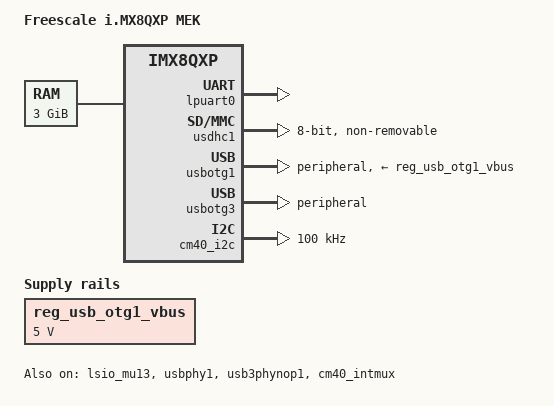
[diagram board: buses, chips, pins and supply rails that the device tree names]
// SPDX-License-Identifier: GPL-2.0+
/*
 * Copyright 2017-2020 NXP
 */

/dts-v1/;

#include "imx8qxp.dtsi"

/ {
	model = "Freescale i.MX8QXP MEK";
	compatible = "fsl,imx8qxp-mek", "fsl,imx8qxp";

	chosen {
		stdout-path = &lpuart0;
	};

	memory@80000000 {
		device_type = "memory";
		reg = <0x00000000 0x80000000 0 0xc0000000>;
	};

	reserved-memory {
		#address-cells = <2>;
		#size-cells = <2>;
		ranges;

		/* 0x8800_0000 ~ 0x8FFF_FFFF is reserved for M4 */

		m4_reserved: m4@0x88000000 {
			no-map;
			reg = <0 0x88000000 0 0x8000000>;
		};

		/* 0x9000_0000 ~ 0x9050_0000 is reserved for M4 rpmsg */

		vdev0vring0: vdev0vring0@90000000 {
                        compatible = "shared-dma-pool";
			reg = <0 0x90000000 0 0x8000>;
			no-map;
		};

		vdev0vring1: vdev0vring1@90008000 {
                        compatible = "shared-dma-pool";
			reg = <0 0x90008000 0 0x8000>;
			no-map;
		};

		vdevbuffer: vdevbuffer {
                        compatible = "shared-dma-pool";
			reg = <0 0x90010000 0 0x40000>;
			no-map;
		};
	};

	imx8x_cm4: imx8x_cm4@0 {
		compatible = "fsl,imx8qxp-cm4";
		mbox-names = "tx", "rx", "txdb", "rxdb";
		mboxes = <&lsio_mu5 0 1
			  &lsio_mu5 1 1
			  &lsio_mu5 2 1
			  &lsio_mu5 3 1>;
		mub-partition = <3>;
		memory-region = <&vdev0vring0>, <&vdev0vring1>, <&vdevbuffer>;
		core-index = <0>;
		core-id = <IMX_SC_R_M4_0_PID0>;
		power-domains = <&pd IMX_SC_R_M4_0_PID0>,
				<&pd IMX_SC_R_M4_0_MU_1A>;
		status = "okay";
	};

	reg_usb_otg1_vbus: regulator-usbotg1-vbus {
		compatible = "regulator-fixed";
		regulator-name = "usb_otg1_vbus";
		regulator-min-microvolt = <5000000>;
		regulator-max-microvolt = <5000000>;
		regulator-always-on;
	};

	plat_can_rpmsg: plat-can-rpmsg {
		compatible = "fsl,plat-can-rpmsg";
		mbox-names = "ctx", "crx";
		mboxes = <&lsio_mu13 0 1
			  &lsio_mu13 1 1>;
		status = "okay";
	};
};

&lsio_mu13 {
	status = "okay";
};

&lpuart0 {
	pinctrl-names = "default";
	pinctrl-0 = <&pinctrl_lpuart0>;
	status = "okay";
};

&usdhc1 {
	pinctrl-names = "default", "state_100mhz", "state_200mhz";
	pinctrl-0 = <&pinctrl_usdhc1>;
	pinctrl-1 = <&pinctrl_usdhc1>;
	pinctrl-2 = <&pinctrl_usdhc1>;
	bus-width = <8>;
	no-sd;
	no-sdio;
	non-removable;
	status = "okay";
};

&usbphy1 {
	status = "okay";
};

&usbotg1 {
	vbus-supply = <&reg_usb_otg1_vbus>;
	srp-disable;
	hnp-disable;
	adp-disable;
	power-active-high;
	disable-over-current;
	dr_mode = "peripheral";
	status = "okay";
};

&usb3phynop1 {
	status = "okay";
};

&usbotg3 {
	dr_mode = "peripheral";
	status = "okay";
};

&cm40_intmux {
	status = "okay";
};

&cm40_i2c {
	#address-cells = <1>;
	#size-cells = <0>;
	clock-frequency = <100000>;
	pinctrl-names = "default";
	pinctrl-0 = <&pinctrl_cm40_i2c>;
	status = "okay";
};

&iomuxc {
	pinctrl-names = "default";
	pinctrl-0 = <&pinctrl_hog>;

	pinctrl_hog: hoggrp {
		fsl,pins = <
			IMX8QXP_MCLK_OUT0_ADMA_ACM_MCLK_OUT0       0x0600004c
			IMX8QXP_COMP_CTL_GPIO_1V8_3V3_GPIORHB_PAD  0x000514a0
		>;
	};

	pinctrl_usdhc1: usdhc1grp {
		fsl,pins = <
			IMX8QXP_EMMC0_CLK_CONN_EMMC0_CLK			0x06000041
			IMX8QXP_EMMC0_CMD_CONN_EMMC0_CMD			0x00000021
			IMX8QXP_EMMC0_DATA0_CONN_EMMC0_DATA0			0x00000021
			IMX8QXP_EMMC0_DATA1_CONN_EMMC0_DATA1			0x00000021
			IMX8QXP_EMMC0_DATA2_CONN_EMMC0_DATA2			0x00000021
			IMX8QXP_EMMC0_DATA3_CONN_EMMC0_DATA3			0x00000021
			IMX8QXP_EMMC0_DATA4_CONN_EMMC0_DATA4			0x00000021
			IMX8QXP_EMMC0_DATA5_CONN_EMMC0_DATA5			0x00000021
			IMX8QXP_EMMC0_DATA6_CONN_EMMC0_DATA6			0x00000021
			IMX8QXP_EMMC0_DATA7_CONN_EMMC0_DATA7			0x00000021
			IMX8QXP_EMMC0_STROBE_CONN_EMMC0_STROBE			0x00000041
		>;
	};

	pinctrl_lpuart0: lpuart0grp {
		fsl,pins = <
			IMX8QXP_UART0_RX_ADMA_UART0_RX				0x06000020
			IMX8QXP_UART0_TX_ADMA_UART0_TX				0x06000020
		>;
	};

	pinctrl_cm40_i2c: cm40i2cgrp {
		fsl,pins = <
			IMX8QXP_ADC_IN1_M40_I2C0_SDA                            0x0600004c
			IMX8QXP_ADC_IN0_M40_I2C0_SCL                            0x0600004c
		>;
	};
};
